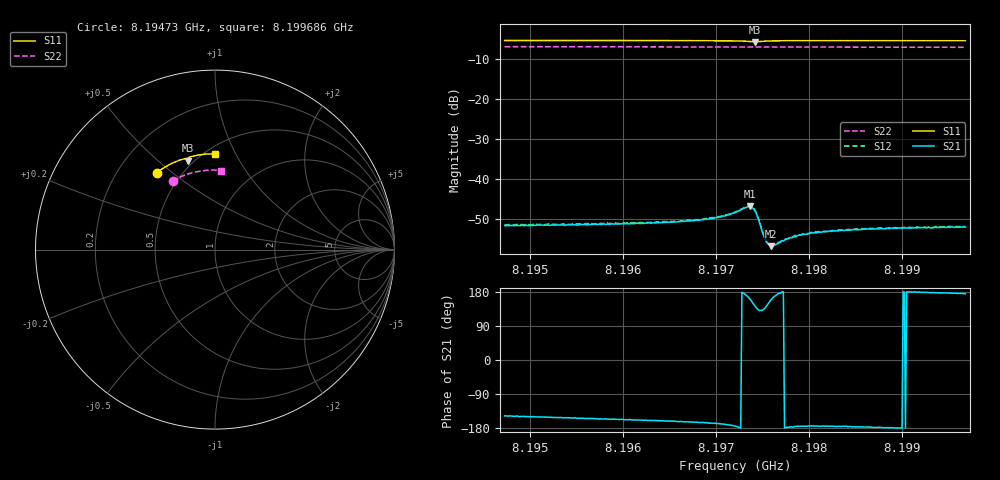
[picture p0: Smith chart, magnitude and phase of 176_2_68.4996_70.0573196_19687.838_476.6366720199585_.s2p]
#  HZ  S  RI  R  50.00
! Rohde & Schwarz Vector Network Analyzer
! Rohde-Schwarz,ZNB20-2Port,1311601062101988,3.16
! Created: UTC 3/20/2024, 5:11:38 PM
! freq[Hz]  re:S11  im:S11  re:S21  im:S21  re:S12  im:S12  re:S22  im:S22
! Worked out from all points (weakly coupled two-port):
!   401 points, 8.19473 GHz to 8.199686 GHz, reference 50 ohm
!   highest |S21| = -46.88 dB at 8.197369 GHz (marker M1); lowest = -56.8 dB at 8.197592 GHz (marker M2)
!   lowest |S11| = -5.7 dB at 8.197418 GHz (marker M3), VSWR 3.14, Z = 23.3 + j31.5 ohm
!   |S11| at or under -10 dB: nowhere
!   |S22| runs from -7.1 to -6.9 dB; largest |S21 - S12| = 0.00025
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8.1947296e9  -0.3241 0.4294  -0.0022 -0.00141  -0.00232 -0.00133  -0.2367 0.3826
8.1955598e9  -0.2751 0.4615  -0.00241 -0.0012  -0.00254 -0.00112  -0.1954 0.404
8.19639e9  -0.2221 0.4884  -0.00267 -0.000962  -0.00275 -0.000853  -0.152 0.4209
8.1966254e9  -0.2065 0.4948  -0.0028 -0.000895  -0.00289 -0.000802  -0.1393 0.4249
8.1969228e9  -0.1854 0.5023  -0.00305 -0.000737  -0.00313 -0.000653  -0.1231 0.4293
8.1970714e9  -0.174 0.5053  -0.00334 -0.000642  -0.00342 -0.000526  -0.1149 0.4313
8.1972077e9  -0.1623 0.5071  -0.00375 -0.000354  -0.00385 -0.000224  -0.1072 0.433
8.1973316e9  -0.15 0.5032  -0.00436 0.000738  -0.00441 0.000979  -0.1004 0.434
8.1973688e9  -0.148 0.4993  -0.00428 0.00148  -0.00429 0.00168  -0.0983 0.4344
8.1973936e9  -0.1486 0.4965  -0.00389 0.00204  -0.00391 0.00223  -0.0972 0.4347
8.1974184e9  -0.1507 0.4947  -0.00327 0.00239  -0.00322 0.00258  -0.0957 0.435
8.1974556e9  -0.1547 0.4955  -0.00222 0.00234  -0.00214 0.00248  -0.0938 0.4352
8.1975299e9  -0.1554 0.504  -0.00131 0.00124  -0.00126 0.00127  -0.0899 0.4362
8.1975547e9  -0.1539 0.5064  -0.00128 0.000897  -0.00128 0.000979  -0.0883 0.4366
8.1975919e9  -0.1511 0.5091  -0.00134 0.000534  -0.00136 0.000618  -0.0864 0.4369
8.1976414e9  -0.1471 0.5119  -0.00148 0.000265  -0.00149 0.000326  -0.0836 0.4374
8.1977777e9  -0.1362 0.5167  -0.00179 -6.51e-05  -0.00181 9.52e-06  -0.076 0.4387
8.1978397e9  -0.1312 0.5182  -0.00188 -0.00013  -0.00193 -3.04e-05  -0.0725 0.4392
8.1980379e9  -0.1164 0.5222  -0.00212 -0.000205  -0.00215 -0.000118  -0.0613 0.4405
8.1983105e9  -0.0967 0.5261  -0.00223 -0.000182  -0.0023 -0.000106  -0.0459 0.4419
8.1988681e9  -0.0569 0.5312  -0.00239 -4.6e-05  -0.00245 6.56e-05  -0.0143 0.443
8.1996859e9  0.00103 0.5334  -0.00248 0.000233  -0.00253 0.000329  0.0321 0.4404
